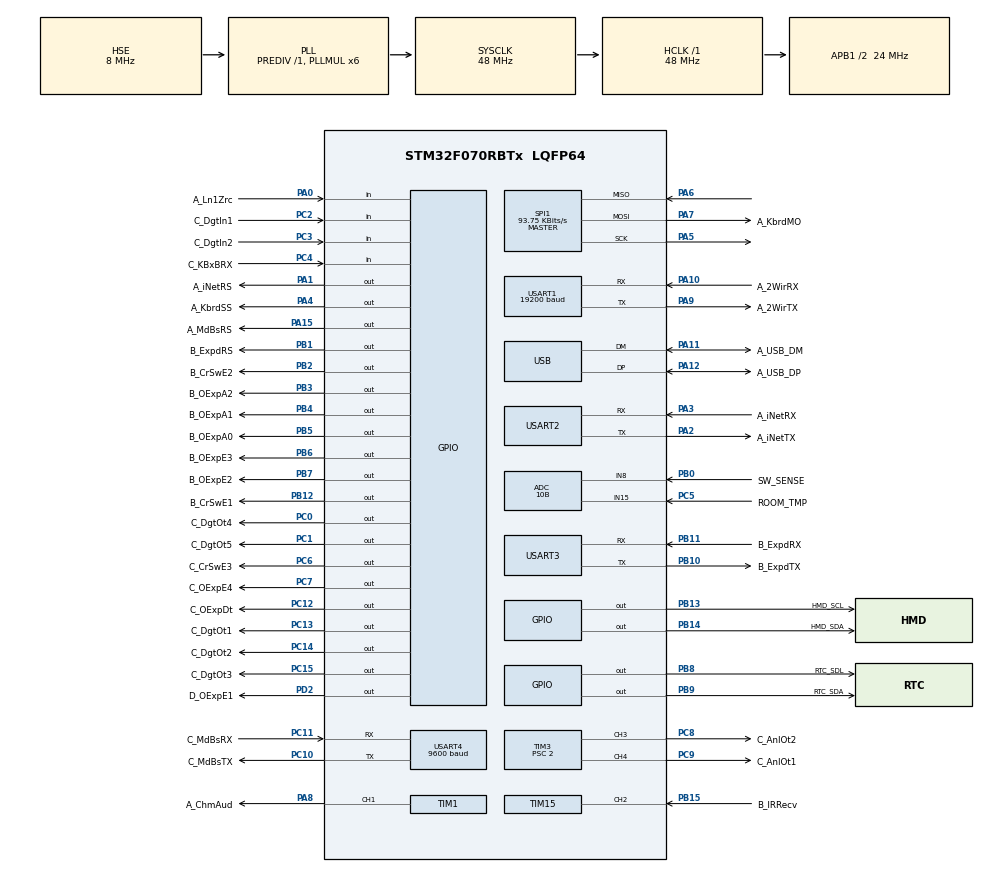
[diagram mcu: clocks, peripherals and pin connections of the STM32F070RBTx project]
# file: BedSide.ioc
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ADC.Resolution=ADC_RESOLUTION_10B
Mcu.Family=STM32F0
Mcu.Name=STM32F070RBTx
Mcu.Package=LQFP64
NVIC.SPI1_IRQn=true\:0\:0\:false\:false\:true\:true\:true
NVIC.TIM14_IRQn=true\:0\:0\:false\:false\:true\:true\:true
NVIC.TIM1_CC_IRQn=true\:0\:0\:false\:false\:true\:true\:true
NVIC.USART1_IRQn=true\:0\:0\:false\:false\:true\:true\:true
NVIC.USART3_4_IRQn=true\:0\:0\:false\:false\:true\:true\:true
PA0.GPIO_Label=A_Ln1Zrc
PA0.GPIO_PuPd=GPIO_PULLUP
PA0.Signal=GPIO_Input
PA1.GPIO_Label=A_iNetRS
PA1.Signal=GPIO_Output
PA10.GPIO_Label=A_2WirRX
PA10.GPIO_PuPd=GPIO_NOPULL
PA10.GPIO_Speed=GPIO_SPEED_FREQ_LOW
PA10.Mode=Asynchronous
PA10.Signal=USART1_RX
PA11.GPIO_Label=A_USB_DM
PA11.Mode=Device
PA11.Signal=USB_DM
PA12.GPIO_Label=A_USB_DP
PA12.Mode=Device
PA12.Signal=USB_DP
PA13.GPIO_Label=A_SWDIO
PA13.Mode=Serial_Wire
PA13.Signal=SYS_SWDIO
PA14.GPIO_Label=A_SWCLK
PA14.Mode=Serial_Wire
PA14.Signal=SYS_SWCLK
PA15.GPIO_Label=A_MdBsRS
PA15.GPIO_Speed=GPIO_SPEED_FREQ_LOW
PA15.Signal=GPIO_Output
PA2.GPIO_Label=A_iNetTX
PA2.GPIO_Speed=GPIO_SPEED_FREQ_LOW
PA2.Mode=Asynchronous
PA2.Signal=USART2_TX
PA3.GPIO_Label=A_iNetRX
PA3.GPIO_Speed=GPIO_SPEED_FREQ_LOW
PA3.Mode=Asynchronous
PA3.Signal=USART2_RX
PA4.GPIO_Label=A_KbrdSS
PA4.GPIO_Speed=GPIO_SPEED_FREQ_HIGH
PA4.Signal=GPIO_Output
PA5.GPIO_Speed=GPIO_SPEED_FREQ_LOW
PA5.Mode=Full_Duplex_Master
PA5.Signal=SPI1_SCK
PA6.GPIO_Speed=GPIO_SPEED_FREQ_LOW
PA6.Mode=Full_Duplex_Master
PA6.Signal=SPI1_MISO
PA7.GPIO_Label=A_KbrdMO
PA7.GPIO_Speed=GPIO_SPEED_FREQ_LOW
PA7.Mode=Full_Duplex_Master
PA7.Signal=SPI1_MOSI
PA8.GPIO_Label=A_ChmAud
PA8.Signal=S_TIM1_CH1
PA9.GPIO_Label=A_2WirTX
PA9.GPIO_ModeDefaultPP=GPIO_MODE_AF_OD
PA9.GPIO_Speed=GPIO_SPEED_FREQ_LOW
PA9.Mode=Asynchronous
PA9.Signal=USART1_TX
PB0.GPIO_Label=SW_SENSE
PB0.Mode=IN8
PB0.Signal=ADC_IN8
PB1.GPIO_Label=B_ExpdRS
PB1.Signal=GPIO_Output
PB10.GPIO_Label=B_ExpdTX
PB10.GPIO_Speed=GPIO_SPEED_FREQ_LOW
PB10.Mode=Asynchronous
PB10.Signal=USART3_TX
PB11.GPIO_Label=B_ExpdRX
PB11.GPIO_PuPd=GPIO_PULLUP
PB11.GPIO_Speed=GPIO_SPEED_FREQ_LOW
PB11.Mode=Asynchronous
PB11.Signal=USART3_RX
PB12.GPIO_Label=B_CrSwE1
PB12.GPIO_ModeDefaultOutputPP=GPIO_MODE_OUTPUT_OD
PB12.PinState=GPIO_PIN_SET
PB12.Signal=GPIO_Output
PB13.GPIO_Label=HMD_SCL
PB13.Signal=GPIO_Output
PB14.GPIO_Label=HMD_SDA
PB14.Signal=GPIO_Output
PB15.GPIO_Label=B_IRRecv
PB15.GPIO_PuPd=GPIO_PULLUP
PB15.Signal=S_TIM15_CH2
PB2.GPIO_Label=B_CrSwE2
PB2.GPIO_ModeDefaultOutputPP=GPIO_MODE_OUTPUT_OD
PB2.PinState=GPIO_PIN_SET
PB2.Signal=GPIO_Output
PB3.GPIO_Label=B_OExpA2
PB3.GPIO_ModeDefaultOutputPP=GPIO_MODE_OUTPUT_OD
PB3.PinState=GPIO_PIN_SET
PB3.Signal=GPIO_Output
PB4.GPIO_Label=B_OExpA1
PB4.GPIO_ModeDefaultOutputPP=GPIO_MODE_OUTPUT_OD
PB4.PinState=GPIO_PIN_SET
PB4.Signal=GPIO_Output
PB5.GPIO_Label=B_OExpA0
PB5.GPIO_ModeDefaultOutputPP=GPIO_MODE_OUTPUT_OD
PB5.PinState=GPIO_PIN_SET
PB5.Signal=GPIO_Output
PB6.GPIO_Label=B_OExpE3
PB6.GPIO_ModeDefaultOutputPP=GPIO_MODE_OUTPUT_OD
PB6.PinState=GPIO_PIN_SET
PB6.Signal=GPIO_Output
PB7.GPIO_Label=B_OExpE2
PB7.GPIO_ModeDefaultOutputPP=GPIO_MODE_OUTPUT_OD
PB7.PinState=GPIO_PIN_SET
PB7.Signal=GPIO_Output
PB8.GPIO_Label=RTC_SDL
PB8.Signal=GPIO_Output
PB9.GPIO_Label=RTC_SDA
PB9.Signal=GPIO_Output
PC0.GPIO_Label=C_DgtOt4
PC0.Signal=GPIO_Output
PC1.GPIO_Label=C_DgtOt5
PC1.Signal=GPIO_Output
PC10.GPIO_Label=C_MdBsTX
PC10.GPIO_Speed=GPIO_SPEED_FREQ_LOW
PC10.Mode=Asynchronous
PC10.Signal=USART4_TX
PC11.GPIO_Label=C_MdBsRX
PC11.GPIO_Speed=GPIO_SPEED_FREQ_LOW
PC11.Mode=Asynchronous
PC11.Signal=USART4_RX
PC12.GPIO_Label=C_OExpDt
PC12.GPIO_ModeDefaultOutputPP=GPIO_MODE_OUTPUT_OD
PC12.Signal=GPIO_Output
PC13.GPIO_Label=C_DgtOt1
PC13.Signal=GPIO_Output
PC14-OSC32_IN.GPIO_Label=C_DgtOt2
PC14-OSC32_IN.Signal=GPIO_Output
PC15-OSC32_OUT.GPIO_Label=C_DgtOt3
PC15-OSC32_OUT.Signal=GPIO_Output
PC2.GPIO_Label=C_DgtIn1
PC2.GPIO_PuPd=GPIO_PULLUP
PC2.Signal=GPIO_Input
PC3.GPIO_Label=C_DgtIn2
PC3.GPIO_PuPd=GPIO_PULLUP
PC3.Signal=GPIO_Input
PC4.GPIO_Label=C_KBxBRX
PC4.GPIO_PuPd=GPIO_PULLUP
PC4.Signal=GPIO_Input
PC5.GPIO_Label=ROOM_TMP
PC5.Mode=IN15
PC5.Signal=ADC_IN15
PC6.GPIO_Label=C_CrSwE3
PC6.GPIO_ModeDefaultOutputPP=GPIO_MODE_OUTPUT_OD
PC6.PinState=GPIO_PIN_SET
PC6.Signal=GPIO_Output
PC7.GPIO_Label=C_OExpE4
PC7.GPIO_ModeDefaultOutputPP=GPIO_MODE_OUTPUT_OD
PC7.PinState=GPIO_PIN_SET
PC7.Signal=GPIO_Output
PC8.GPIO_Label=C_AnlOt2
PC8.Signal=S_TIM3_CH3
PC9.GPIO_Label=C_AnlOt1
PC9.Signal=S_TIM3_CH4
PD2.GPIO_Label=D_OExpE1
PD2.GPIO_ModeDefaultOutputPP=GPIO_MODE_OUTPUT_OD
PD2.PinState=GPIO_PIN_SET
PD2.Signal=GPIO_Output
PF0-OSC_IN.GPIO_Label=F_OscInp
PF0-OSC_IN.Mode=HSE-External-Oscillator
PF0-OSC_IN.Signal=RCC_OSC_IN
PF1-OSC_OUT.GPIO_Label=F_OscOut
PF1-OSC_OUT.Mode=HSE-External-Oscillator
PF1-OSC_OUT.Signal=RCC_OSC_OUT
ProjectManager.HeapSize=0x200
ProjectManager.StackSize=0x400
ProjectManager.TargetToolchain=EWARM V7
RCC.AHBFreq_Value=48000000
RCC.APB1CLKDivider=RCC_HCLK_DIV2
RCC.APB1Freq_Value=24000000
RCC.APB1TimFreq_Value=48000000
RCC.EnbaleCSS=true
RCC.HCLKFreq_Value=48000000
RCC.I2c1ClockSelection=RCC_I2C1CLKSOURCE_SYSCLK
RCC.PLLMUL=RCC_PLL_MUL6
RCC.RTCClockSelection=RCC_RTCCLKSOURCE_HSE_DIV32
RCC.SYSCLKFreq_VALUE=48000000
RCC.SYSCLKSource=RCC_SYSCLKSOURCE_PLLCLK
SH.S_TIM15_CH2.0=TIM15_CH2,Input_Capture2_from_TI2
SH.S_TIM1_CH1.0=TIM1_CH1,Output Compare1 CH1
SH.S_TIM3_CH3.0=TIM3_CH3,PWM Generation3 CH3
SH.S_TIM3_CH4.0=TIM3_CH4,PWM Generation4 CH4
SPI1.BaudRatePrescaler=SPI_BAUDRATEPRESCALER_256
SPI1.CLKPhase=SPI_PHASE_2EDGE
SPI1.CLKPolarity=SPI_POLARITY_HIGH
SPI1.CalculateBaudRate=93.75 KBits/s
SPI1.DataSize=SPI_DATASIZE_8BIT
SPI1.Direction=SPI_DIRECTION_2LINES
SPI1.Mode=SPI_MODE_MASTER
SPI1.VirtualType=VM_MASTER
TIM1.Channel-Output\ Compare1\ CH1=TIM_CHANNEL_1
TIM14.AutoReloadPreload=TIM_AUTORELOAD_PRELOAD_ENABLE
TIM14.Period=749
TIM14.Prescaler=3
TIM15.Channel-Input_Capture2_from_TI2=TIM_CHANNEL_2
TIM3.Channel-PWM\ Generation3\ CH3=TIM_CHANNEL_3
TIM3.Channel-PWM\ Generation4\ CH4=TIM_CHANNEL_4
TIM3.ClockDivision=TIM_CLOCKDIVISION_DIV1
TIM3.OCFastMode_PWM-PWM\ Generation3\ CH3=TIM_OCFAST_ENABLE
TIM3.OCFastMode_PWM-PWM\ Generation4\ CH4=TIM_OCFAST_ENABLE
TIM3.Period=1000
TIM3.Prescaler=2
TIM3.Pulse-PWM\ Generation3\ CH3=500
TIM3.Pulse-PWM\ Generation4\ CH4=500
USART1.BaudRate=19200
USART1.DMADisableonRxErrorParam=ADVFEATURE_DMA_DISABLEONRXERROR
USART1.OverrunDisableParam=ADVFEATURE_OVERRUN_DISABLE
USART1.Parity=PARITY_EVEN
USART1.VirtualMode-Asynchronous=VM_ASYNC
USART1.WordLength=WORDLENGTH_9B
USART2.VirtualMode-Asynchronous=VM_ASYNC
USART3.VirtualMode-Asynchronous=VM_ASYNC
USART4.BaudRate=9600
USART4.Parity=PARITY_EVEN
USART4.VirtualMode-Asynchronous=VM_ASYNC
USART4.WordLength=WORDLENGTH_9B
VP_IWDG_VS_IWDG.Mode=IWDG_Activate
VP_TIM14_VS_ClockSourceINT.Mode=Enable_Timer
VP_TIM15_VS_ClockSourceINT.Mode=Internal
VP_TIM1_VS_ClockSourceINT.Mode=Internal
VP_TIM3_VS_ClockSourceINT.Mode=Internal
board=custom

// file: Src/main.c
/* USER CODE BEGIN Header */
/**
  ******************************************************************************
  * @file           : main.c
  * @brief          : Main program body
  ******************************************************************************
  * @attention
  *
  * <h2><center>&copy; Copyright (c) 2019 STMicroelectronics.
  * All rights reserved.</center></h2>
  *
  * This software component is licensed by ST under BSD 3-Clause license,
  * the "License"; You may not use this file except in compliance with the
  * License. You may obtain a copy of the License at:
  *                        opensource.org/licenses/BSD-3-Clause
  *
  ******************************************************************************
  */
/* USER CODE END Header */

#include "main.h"

/* USER CODE BEGIN Includes */
#include "timer.h"
#include "uartITN.h"
#include "SPIDisp.h"
#include "adcITN.h"
#include "driverhc259.h"
#include "relayct.h"
/* USER CODE END Includes */

/* USER CODE BEGIN PD */
//chanatip start
 //-------------------------------------------
unsigned char CpOfD_Mn;                      // compressor off delay (m)
unsigned char CpOfD_Sc;                      // compressor off delay (s)
unsigned short Val_ItCy;                     // valve interval cycle timer (s)

//-------------------------------------------
unsigned char NbdSt_Mn;                      // nobody stays timer (m)
unsigned short NbdSt_ms;                     // nobody stays timer (20ms)
unsigned char AcTSS_Mn;                      // air-con setting temperature saving step timer (m)
unsigned char AcTSS_ms;                      // air-con setting temperature saving step timer (20ms)
unsigned char AcTS_Ofs;                      // air-con setting temperature saving offset temperature (0.5C)
//-------------------------------------------
unsigned char AcNMt_Mn;                      // air-con no-motion timer (m)
unsigned short AcNMt_ms;                     // air-con no-motion timer (20ms)
unsigned char A2NMt_Mn;                      // air-con2 no-motion timer (m)
unsigned short A2NMt_ms;                     // air-con2 no-motion timer (20ms)
//-------------------------------------------
//==============================================================================
// data table for convert different temperature index (0.5C/step) to fan auto speed
//------------------------------------------------------------------------------
// fan auto speed
// - low,medium,high
//-------------------------------------------
// lower threshold of the hysteresis
const unsigned char FnAS_HyL[] = {
  2*(1)+0,                         // < 1C low speed
  2*(2)+0,                         // < 2C medium speed
  0xFF                             // < max high speed
};
//-------------------------------------------
// upper threshold of the hysteresis
const unsigned char FnAS_HyU[] = {
  2*(1)+1,                         // < 1.5C low speed
  2*(2)+1,                         // < 2.5C medium speed
  0xFF                             // < max high speed
};

//-------------------------------------------
unsigned char Sen1_Tmp;                      // sensor1 temperature index
unsigned char Room_Tmp;                      // room temperature index
unsigned char Room_Hum;                      // room humidity (0-100%RH)
//-------------------------------------------
unsigned char Ct_StTmp;                      // control setting temperature index
signed char VlC_DfTp;                        // valve control different temperature index
unsigned char FSC_DfTp;                      // fan speed control different temperature index
//-------------------------------------------
unsigned char FnAuSp_S;                      // fan auto speed state
//-------------------------------------------

MbtUint8 HwTs_Buf[HwTBf_Sz];                 // hardware testing buffer

RlyCctGp FnRlC_St;                           // final relay circuit status
RlyCctGp Genr_RlC;                           // general relay circuit
RlyCctGp Tmp_RlCc;                           // temporary relay circuit data

MbtUint8 GenFg_01;                  // general purpose flag1
MbtUint8 GenFg_02;                  // general purpose flag2
MbtUint8 GenFg_03;                  // general purpose flag3
MbtUint8 GenFg_04;                  // general purpose flag4
MbtUint8 GenFg_05;                  // general purpose flag6
MbtUint8 GenFg_06;                  // general purpose flag5
MbtUint8 GenFg_07;                  // general purpose flag7
MbtUint8 GenFg_08;                  // general purpose flag8
MbtUint8 GenFg_09;                  // general purpose flag9
MbtUint8 GenFg_10;                  // general purpose flag10
MbtUint8 GenFg_11;                  // general purpose flag11
MbtUint8 GenFg_12;                  // general purpose flag12
MbtUint8 GenFg_13;                  // general purpose flag13

Typedef_ParaTb01 ParaTb01;                                  // parameter table 1
Typedef_ParaTb2a ParaTb2a;
Typedef_ParaTb2b ParaTb2b;                                  // parameter table 2b
Typedef_ParaTb05 ParaTb05;                                  // parameter table 5

EpO259Gp EpO_PtSt;                           // expand output port status
EpO259Gp EpO_PtBf;                           // expand output port buffer
EpO259Gp EpO_Data;                           // expand output data
//-------------------------------------------
/*
union {
  unsigned char array[EE_BlockSze03-1];
  struct {
                                                                               // @@@ start of array
    //---------------------------------------
    unsigned char TmBom_En;                  // time bomb enable flag
    MbtUint16 TmBom_Hr;                      // time bomb hour down counter
    //---------------------------------------
                                                                               // @@@ end of array
  } P;
} ParaTb03;                                  // parameter table 3
*/
//-------------------------------------------

Typedef_ParaTb04  ParaTb04;                                  // parameter table 4
//-------------------------------------------
unsigned char CmMd_Lv1;
unsigned char CmMd_Lv2;

//chanatip end

/*Define for UART*/
#define TX1_SIZE (6)
#define TX2_SIZE (20)
#define TX3_SIZE (20)
#define TX4_SIZE (20)

#define RX1_SIZE (15)
#define RX2_SIZE (20)
#define RX3_SIZE (20)
#define RX4_SIZE (20)

#define UART1_RX_TIME_OUT  (4000/500)
#define UART2_RX_TIME_OUT  (4000/500)
#define UART3_RX_TIME_OUT  (4000/500)

#define D1D (1<<7)
#define D1E (1<<6)
#define D1C (1<<4)
#define D1F (1<<3)
#define D1G (1<<2)
#define D1B (1<<1)
#define D1A (1<<0)
#define D1DP (1<<5)

#define DG_0  ((uint8_t) (D1A | D1B | D1C | D1D | D1E | D1F       ))
#define DG_1  ((uint8_t) (      D1B | D1C                         ))
#define DG_2  ((uint8_t) (D1A | D1B |       D1D | D1E |       D1G ))
#define DG_3  ((uint8_t) (D1A | D1B | D1C | D1D |             D1G ))
#define DG_4  ((uint8_t) (      D1B | D1C |             D1F | D1G ))
#define DG_5  ((uint8_t) (D1A |       D1C | D1D |       D1F | D1G ))
#define DG_6  ((uint8_t) (D1A |       D1C | D1D | D1E | D1F | D1G ))
#define DG_7  ((uint8_t) (D1A | D1B | D1C                         ))
#define DG_8  ((uint8_t) (D1A | D1B | D1C | D1D | D1E | D1F | D1G ))
#define DG_9  ((uint8_t) (D1A | D1B | D1C | D1D |       D1F | D1G ))
#define DG_A  ((uint8_t) (D1A | D1B | D1C |       D1E | D1F | D1G ))
#define DG_B  ((uint8_t) (            D1C | D1D | D1E | D1F | D1G ))
#define DG_C  ((uint8_t) (D1A |             D1D | D1E | D1F       ))
#define DG_D  ((uint8_t) (      D1B | D1C | D1D | D1E |       D1G ))
#define DG_E  ((uint8_t) (D1A |             D1D | D1E | D1F | D1G ))
#define DG_F  ((uint8_t) (D1A |                   D1E | D1F | D1G ))

#define LCD1A (1<<6)
#define LCD1B (1<<4)
#define LCD1C (1<<1)
#define LCD1D (1<<0)
#define LCD1E (1<<2)
#define LCD1F (1<<5)
#define LCD1G (1<<3)

#define LCD_0  ((uint8_t) (LCD1A | LCD1B | LCD1C | LCD1D | LCD1E | LCD1F         ))
#define LCD_1  ((uint8_t) (        LCD1B | LCD1C                                 ))
#define LCD_2  ((uint8_t) (LCD1A | LCD1B |         LCD1D | LCD1E |         LCD1G ))
#define LCD_3  ((uint8_t) (LCD1A | LCD1B | LCD1C | LCD1D |                 LCD1G ))
#define LCD_4  ((uint8_t) (        LCD1B | LCD1C |                 LCD1F | LCD1G ))
#define LCD_5  ((uint8_t) (LCD1A |         LCD1C | LCD1D |         LCD1F | LCD1G ))
#define LCD_6  ((uint8_t) (LCD1A |         LCD1C | LCD1D | LCD1E | LCD1F | LCD1G ))
#define LCD_7  ((uint8_t) (LCD1A | LCD1B | LCD1C                                 ))
#define LCD_8  ((uint8_t) (LCD1A | LCD1B | LCD1C | LCD1D | LCD1E | LCD1F | LCD1G ))
#define LCD_9  ((uint8_t) (LCD1A | LCD1B | LCD1C | LCD1D |         LCD1F | LCD1G ))
#define LCD_A  ((uint8_t) (LCD1A | LCD1B | LCD1C |         LCD1E | LCD1F | LCD1G ))
#define LCD_B  ((uint8_t) (                LCD1C | LCD1D | LCD1E | LCD1F | LCD1G ))
#define LCD_C  ((uint8_t) (LCD1A |                 LCD1D | LCD1E | LCD1F         ))
#define LCD_D  ((uint8_t) (        LCD1B | LCD1C | LCD1D | LCD1E |         LCD1G ))
#define LCD_E  ((uint8_t) (LCD1A |                 LCD1D | LCD1E | LCD1F | LCD1G ))
#define LCD_F  ((uint8_t) (LCD1A |                         LCD1E | LCD1F | LCD1G ))

enum{
  PREPARE_DATA,
  WAIT_SEND_COMPLETE,
  CHANGE_TO_RX,
  RECEIVED_DATA,
  WAIT_IDLE
};

/* USER CODE END PD */

IWDG_HandleTypeDef hiwdg;

PCD_HandleTypeDef hpcd_USB_FS;

/* USER CODE BEGIN PV */
uint8_t m0s0625C;
uint16_t m0s50_Ct;
uint8_t slotcount;
uint8_t Sec_Cntr;

uint8_t testpos=0;
uint8_t testdat=1;

/*UART variable*/
USARTHandler UART1;
USARTHandler UART2;
USARTHandler UART3;
USARTHandler UART4;

uint8_t TX1Data[TX1_SIZE];
uint8_t RX1Data[RX1_SIZE];
uint8_t ConnectState = PREPARE_DATA;
uint8_t KeyData;

/*SPI variable*/
SPIDataHandler SPIDat;
uint8_t SPITXData[SPI_TX_SIZE];
uint8_t SPIRXData[SPI_RX_SIZE];
/*Adc vairable*/
uint16_t ADCValve[2];

/* USER CODE END PV */

void SystemClock_Config(void);
static void MX_GPIO_Init(void);
static void MX_ADC_Init(void);
static void MX_USB_PCD_Init(void);
static void MX_IWDG_Init(void);
static void MX_TIM1_Init(void);
static void MX_TIM3_Init(void);
static void MX_TIM15_Init(void);
static void MX_USART1_UART_Init(void);
static void MX_USART2_UART_Init(void);
static void MX_USART3_UART_Init(void);
static void MX_USART4_UART_Init(void);
static void MX_SPI1_Init(void);
static void MX_TIM14_Init(void);
/* USER CODE BEGIN PFP */

void WALLCommunication(USARTHandler *uart);
void SPICommunication(SPI_TypeDef *SPICH,SPIDataHandler *spi);

/* USER CODE END PFP */

/* USER CODE BEGIN 0 */
const uint8_t DSP1_TAB[] = {
  DG_0,
  DG_1,
  DG_2,
  DG_3,
  DG_4,
  DG_5,
  DG_6,
  DG_7,
  DG_8,
  DG_9,
  DG_A,
  DG_B,
  DG_C,
  DG_D,
  DG_E,
  DG_F
};

const uint8_t LCD1_TAB[] = {
  LCD_0,
  LCD_1,
  LCD_2,
  LCD_3,
  LCD_4,
  LCD_5,
  LCD_6,
  LCD_7,
  LCD_8,
  LCD_9,
  LCD_A,
  LCD_B,
  LCD_C,
  LCD_D,
  LCD_E,
  LCD_F
};

/* USER CODE END 0 */

int main(void)
{

  /* MCU Configuration--------------------------------------------------------*/

  /* Reset of all peripherals, Initializes the Flash interface and the Systick. */
  HAL_Init();

  /* Configure the system clock */
  SystemClock_Config();

  /* USER CODE BEGIN SysInit */
  __disable_interrupt();
  /* USER CODE END SysInit */

  /* Initialize all configured peripherals */
  MX_GPIO_Init();
  MX_ADC_Init();
  MX_USB_PCD_Init();
  MX_IWDG_Init();
  MX_TIM1_Init();
  MX_TIM3_Init();
  MX_TIM15_Init();
  MX_USART1_UART_Init();
  MX_USART2_UART_Init();
  MX_USART3_UART_Init();
  MX_USART4_UART_Init();
  MX_SPI1_Init();
  MX_TIM14_Init();
  /* USER CODE BEGIN 2 */

  /*Initialize timer*/
  InitTimerCallBack();
  /*Initialize UART handler*/
  InitUARTHandler();
  /*Calibrate ADC*/
  calibrateADC();
  enableADC();

  __enable_interrupt();
  /* USER CODE END 2 */

  /* Infinite loop */
  while (1)
  {

    /* USER CODE BEGIN 3 */
    if(m0s0625C >= 8) {                         // check 0.0625ms counter for 0.5ms loop
      m0s0625C -= 8;
      m0s50_Ct++;                               // increase 0.5ms counter
      HAL_IWDG_Refresh(&hiwdg);                 // refresh watchdog
      /* 0.5ms service routine -------------------------------------------------*/
      //Sv_MnSlt();                             // service main slot routine
      //C4_m62s5();                             // check for service 62.5ms routine

      /*Toggle port*/

      DecreaseUARTRXTimeout(&UART1);            /*Decrease RX1 time out*/
      WALLCommunication(&UART1);                /*Wall 1-4 communication*/

      convertADC(ADC_CHSELR_CHSEL15,1,ADCValve);
      relay_CT();                            // chanatip test relay control

      if((++slotcount) == 10 ){
        slotcount =0 ;
        SPICommunication(SPI1,&SPIDat);
      }
      /*------------------------------------------------------------------------*/
      if(m0s50_Ct >= 2000) {                    // check 0.5ms counter for 1000ms loop
        m0s50_Ct = 0;
        Sec_Cntr++;                             // increase 1s counter
        // 1s service routine --------------------------------------------------
        //G_AlOptn();                           // get all option
        //Sv_A1Sec();                           // service all 1 second timer
        setOutputIC259(testpos,testdat);
        //-----------------------------------
        if(Sec_Cntr >= 60) {                    // check 1s counter for 60s loop
          Sec_Cntr = 0;
          // 1m service routine ------------------------------------------------
          //Sv_A1Min();                         // service all 1 minute timer
          //--------------------------------------------------------------------
        }
        //----------------------------------------------------------------------
      }
      //------------------------------------------------------------------------
    }
    /* End of main loop ########################################################*/
  }
  /* USER CODE END 3 */
}

void SystemClock_Config(void)
{
  RCC_OscInitTypeDef RCC_OscInitStruct = {0};
  RCC_ClkInitTypeDef RCC_ClkInitStruct = {0};
  RCC_PeriphCLKInitTypeDef PeriphClkInit = {0};

  /** Initializes the CPU, AHB and APB busses clocks
  */
  RCC_OscInitStruct.OscillatorType = RCC_OSCILLATORTYPE_HSI14|RCC_OSCILLATORTYPE_LSI
                              |RCC_OSCILLATORTYPE_HSE;
  RCC_OscInitStruct.HSEState = RCC_HSE_ON;
  RCC_OscInitStruct.HSI14State = RCC_HSI14_ON;
  RCC_OscInitStruct.HSI14CalibrationValue = 16;
  RCC_OscInitStruct.LSIState = RCC_LSI_ON;
  RCC_OscInitStruct.PLL.PLLState = RCC_PLL_ON;
  RCC_OscInitStruct.PLL.PLLSource = RCC_PLLSOURCE_HSE;
  RCC_OscInitStruct.PLL.PLLMUL = RCC_PLL_MUL6;
  RCC_OscInitStruct.PLL.PREDIV = RCC_PREDIV_DIV1;
  if (HAL_RCC_OscConfig(&RCC_OscInitStruct) != HAL_OK)
  {
    Error_Handler();
  }
  /** Initializes the CPU, AHB and APB busses clocks
  */
  RCC_ClkInitStruct.ClockType = RCC_CLOCKTYPE_HCLK|RCC_CLOCKTYPE_SYSCLK
                              |RCC_CLOCKTYPE_PCLK1;
  RCC_ClkInitStruct.SYSCLKSource = RCC_SYSCLKSOURCE_PLLCLK;
  RCC_ClkInitStruct.AHBCLKDivider = RCC_SYSCLK_DIV1;
  RCC_ClkInitStruct.APB1CLKDivider = RCC_HCLK_DIV2;

  if (HAL_RCC_ClockConfig(&RCC_ClkInitStruct, FLASH_LATENCY_1) != HAL_OK)
  {
    Error_Handler();
  }
  PeriphClkInit.PeriphClockSelection = RCC_PERIPHCLK_USB|RCC_PERIPHCLK_USART1;
  PeriphClkInit.Usart1ClockSelection = RCC_USART1CLKSOURCE_PCLK1;
  PeriphClkInit.UsbClockSelection = RCC_USBCLKSOURCE_PLL;

  if (HAL_RCCEx_PeriphCLKConfig(&PeriphClkInit) != HAL_OK)
  {
    Error_Handler();
  }
  /** Enables the Clock Security System
  */
  HAL_RCC_EnableCSS();
}

static void MX_ADC_Init(void)
{

  LL_ADC_InitTypeDef ADC_InitStruct = {0};
  LL_ADC_REG_InitTypeDef ADC_REG_InitStruct = {0};

  LL_GPIO_InitTypeDef GPIO_InitStruct = {0};

  /* Peripheral clock enable */
  LL_APB1_GRP2_EnableClock(LL_APB1_GRP2_PERIPH_ADC1);

  LL_AHB1_GRP1_EnableClock(LL_AHB1_GRP1_PERIPH_GPIOC);
  LL_AHB1_GRP1_EnableClock(LL_AHB1_GRP1_PERIPH_GPIOB);
  /**ADC GPIO Configuration
  PC5   ------> ADC_IN15
  PB0   ------> ADC_IN8
  */
  GPIO_InitStruct.Pin = LL_GPIO_PIN_5;
  GPIO_InitStruct.Mode = LL_GPIO_MODE_ANALOG;
  GPIO_InitStruct.Pull = LL_GPIO_PULL_NO;
  LL_GPIO_Init(GPIOC, &GPIO_InitStruct);

  GPIO_InitStruct.Pin = LL_GPIO_PIN_0;
  GPIO_InitStruct.Mode = LL_GPIO_MODE_ANALOG;
  GPIO_InitStruct.Pull = LL_GPIO_PULL_NO;
  LL_GPIO_Init(GPIOB, &GPIO_InitStruct);

  /** Configure Regular Channel
  */
  LL_ADC_REG_SetSequencerChAdd(ADC1, LL_ADC_CHANNEL_8);
  /** Configure Regular Channel
  */
  LL_ADC_REG_SetSequencerChAdd(ADC1, LL_ADC_CHANNEL_15);
  /** Configure the global features of the ADC (Clock, Resolution, Data Alignment and number of conversion)
  */
  ADC_InitStruct.Clock = LL_ADC_CLOCK_ASYNC;
  ADC_InitStruct.Resolution = LL_ADC_RESOLUTION_10B;
  ADC_InitStruct.DataAlignment = LL_ADC_DATA_ALIGN_RIGHT;
  ADC_InitStruct.LowPowerMode = LL_ADC_LP_MODE_NONE;
  LL_ADC_Init(ADC1, &ADC_InitStruct);
  ADC_REG_InitStruct.TriggerSource = LL_ADC_REG_TRIG_SOFTWARE;
  ADC_REG_InitStruct.SequencerDiscont = LL_ADC_REG_SEQ_DISCONT_DISABLE;
  ADC_REG_InitStruct.ContinuousMode = LL_ADC_REG_CONV_SINGLE;
  ADC_REG_InitStruct.DMATransfer = LL_ADC_REG_DMA_TRANSFER_LIMITED;
  ADC_REG_InitStruct.Overrun = LL_ADC_REG_OVR_DATA_PRESERVED;
  LL_ADC_REG_Init(ADC1, &ADC_REG_InitStruct);
  LL_ADC_REG_SetSequencerScanDirection(ADC1, LL_ADC_REG_SEQ_SCAN_DIR_FORWARD);
  LL_ADC_SetSamplingTimeCommonChannels(ADC1, LL_ADC_SAMPLINGTIME_1CYCLE_5);
  LL_ADC_DisableIT_EOC(ADC1);
  LL_ADC_DisableIT_EOS(ADC1);

}

static void MX_IWDG_Init(void)
{

  hiwdg.Instance = IWDG;
  hiwdg.Init.Prescaler = IWDG_PRESCALER_4;
  hiwdg.Init.Window = 4095;
  hiwdg.Init.Reload = 4095;
  if (HAL_IWDG_Init(&hiwdg) != HAL_OK)
  {
    Error_Handler();
  }

}

static void MX_SPI1_Init(void)
{

  LL_SPI_InitTypeDef SPI_InitStruct = {0};

  LL_GPIO_InitTypeDef GPIO_InitStruct = {0};

  /* Peripheral clock enable */
  LL_APB1_GRP2_EnableClock(LL_APB1_GRP2_PERIPH_SPI1);

  LL_AHB1_GRP1_EnableClock(LL_AHB1_GRP1_PERIPH_GPIOA);
  /**SPI1 GPIO Configuration
  PA5   ------> SPI1_SCK
  PA6   ------> SPI1_MISO
  PA7   ------> SPI1_MOSI
  */
  GPIO_InitStruct.Pin = LL_GPIO_PIN_5;
  GPIO_InitStruct.Mode = LL_GPIO_MODE_ALTERNATE;
  GPIO_InitStruct.Speed = LL_GPIO_SPEED_FREQ_LOW;
  GPIO_InitStruct.OutputType = LL_GPIO_OUTPUT_PUSHPULL;
  GPIO_InitStruct.Pull = LL_GPIO_PULL_NO;
  GPIO_InitStruct.Alternate = LL_GPIO_AF_0;
  LL_GPIO_Init(GPIOA, &GPIO_InitStruct);

  GPIO_InitStruct.Pin = LL_GPIO_PIN_6;
  GPIO_InitStruct.Mode = LL_GPIO_MODE_ALTERNATE;
  GPIO_InitStruct.Speed = LL_GPIO_SPEED_FREQ_LOW;
  GPIO_InitStruct.OutputType = LL_GPIO_OUTPUT_PUSHPULL;
  GPIO_InitStruct.Pull = LL_GPIO_PULL_NO;
  GPIO_InitStruct.Alternate = LL_GPIO_AF_0;
  LL_GPIO_Init(GPIOA, &GPIO_InitStruct);

  GPIO_InitStruct.Pin = LL_GPIO_PIN_7;
  GPIO_InitStruct.Mode = LL_GPIO_MODE_ALTERNATE;
  GPIO_InitStruct.Speed = LL_GPIO_SPEED_FREQ_LOW;
  GPIO_InitStruct.OutputType = LL_GPIO_OUTPUT_PUSHPULL;
  GPIO_InitStruct.Pull = LL_GPIO_PULL_NO;
  GPIO_InitStruct.Alternate = LL_GPIO_AF_0;
  LL_GPIO_Init(GPIOA, &GPIO_InitStruct);

  /* SPI1 interrupt Init */
  NVIC_SetPriority(SPI1_IRQn, 0);
  NVIC_EnableIRQ(SPI1_IRQn);

  /* SPI1 parameter configuration*/
  SPI_InitStruct.TransferDirection = LL_SPI_FULL_DUPLEX;
  SPI_InitStruct.Mode = LL_SPI_MODE_MASTER;
  SPI_InitStruct.DataWidth = LL_SPI_DATAWIDTH_8BIT;
  SPI_InitStruct.ClockPolarity = LL_SPI_POLARITY_HIGH;
  SPI_InitStruct.ClockPhase = LL_SPI_PHASE_2EDGE;
  SPI_InitStruct.NSS = LL_SPI_NSS_SOFT;
  SPI_InitStruct.BaudRate = LL_SPI_BAUDRATEPRESCALER_DIV256;
  SPI_InitStruct.BitOrder = LL_SPI_MSB_FIRST;
  SPI_InitStruct.CRCCalculation = LL_SPI_CRCCALCULATION_DISABLE;
  SPI_InitStruct.CRCPoly = 7;
  LL_SPI_Init(SPI1, &SPI_InitStruct);
  LL_SPI_SetStandard(SPI1, LL_SPI_PROTOCOL_MOTOROLA);
  LL_SPI_DisableNSSPulseMgt(SPI1);

}

static void MX_TIM1_Init(void)
{

  LL_TIM_InitTypeDef TIM_InitStruct = {0};
  LL_TIM_OC_InitTypeDef TIM_OC_InitStruct = {0};
  LL_TIM_BDTR_InitTypeDef TIM_BDTRInitStruct = {0};

  LL_GPIO_InitTypeDef GPIO_InitStruct = {0};

  /* Peripheral clock enable */
  LL_APB1_GRP2_EnableClock(LL_APB1_GRP2_PERIPH_TIM1);

  /* TIM1 interrupt Init */
  NVIC_SetPriority(TIM1_CC_IRQn, 0);
  NVIC_EnableIRQ(TIM1_CC_IRQn);

  TIM_InitStruct.Prescaler = 0;
  TIM_InitStruct.CounterMode = LL_TIM_COUNTERMODE_UP;
  TIM_InitStruct.Autoreload = 0;
  TIM_InitStruct.ClockDivision = LL_TIM_CLOCKDIVISION_DIV1;
  TIM_InitStruct.RepetitionCounter = 0;
  LL_TIM_Init(TIM1, &TIM_InitStruct);
  LL_TIM_DisableARRPreload(TIM1);
  LL_TIM_SetClockSource(TIM1, LL_TIM_CLOCKSOURCE_INTERNAL);
  TIM_OC_InitStruct.OCMode = LL_TIM_OCMODE_FROZEN;
  TIM_OC_InitStruct.OCState = LL_TIM_OCSTATE_DISABLE;
  TIM_OC_InitStruct.OCNState = LL_TIM_OCSTATE_DISABLE;
  TIM_OC_InitStruct.CompareValue = 0;
  TIM_OC_InitStruct.OCPolarity = LL_TIM_OCPOLARITY_HIGH;
  TIM_OC_InitStruct.OCNPolarity = LL_TIM_OCPOLARITY_HIGH;
  TIM_OC_InitStruct.OCIdleState = LL_TIM_OCIDLESTATE_LOW;
  TIM_OC_InitStruct.OCNIdleState = LL_TIM_OCIDLESTATE_LOW;
  LL_TIM_OC_Init(TIM1, LL_TIM_CHANNEL_CH1, &TIM_OC_InitStruct);
  LL_TIM_OC_DisableFast(TIM1, LL_TIM_CHANNEL_CH1);
  LL_TIM_SetTriggerOutput(TIM1, LL_TIM_TRGO_RESET);
  LL_TIM_DisableMasterSlaveMode(TIM1);
  TIM_BDTRInitStruct.OSSRState = LL_TIM_OSSR_DISABLE;
  TIM_BDTRInitStruct.OSSIState = LL_TIM_OSSI_DISABLE;
  TIM_BDTRInitStruct.LockLevel = LL_TIM_LOCKLEVEL_OFF;
  TIM_BDTRInitStruct.DeadTime = 0;
  TIM_BDTRInitStruct.BreakState = LL_TIM_BREAK_DISABLE;
  TIM_BDTRInitStruct.BreakPolarity = LL_TIM_BREAK_POLARITY_HIGH;
  TIM_BDTRInitStruct.AutomaticOutput = LL_TIM_AUTOMATICOUTPUT_DISABLE;
  LL_TIM_BDTR_Init(TIM1, &TIM_BDTRInitStruct);
  LL_AHB1_GRP1_EnableClock(LL_AHB1_GRP1_PERIPH_GPIOA);
  /**TIM1 GPIO Configuration
  PA8   ------> TIM1_CH1
  */
  GPIO_InitStruct.Pin = LL_GPIO_PIN_8;
  GPIO_InitStruct.Mode = LL_GPIO_MODE_ALTERNATE;
  GPIO_InitStruct.Speed = LL_GPIO_SPEED_FREQ_LOW;
  GPIO_InitStruct.OutputType = LL_GPIO_OUTPUT_PUSHPULL;
  GPIO_InitStruct.Pull = LL_GPIO_PULL_NO;
  GPIO_InitStruct.Alternate = LL_GPIO_AF_2;
  LL_GPIO_Init(GPIOA, &GPIO_InitStruct);

}

static void MX_TIM3_Init(void)
{

  LL_TIM_InitTypeDef TIM_InitStruct = {0};
  LL_TIM_OC_InitTypeDef TIM_OC_InitStruct = {0};

  LL_GPIO_InitTypeDef GPIO_InitStruct = {0};

  /* Peripheral clock enable */
  LL_APB1_GRP1_EnableClock(LL_APB1_GRP1_PERIPH_TIM3);

  TIM_InitStruct.Prescaler = 2;
  TIM_InitStruct.CounterMode = LL_TIM_COUNTERMODE_UP;
  TIM_InitStruct.Autoreload = 1000;
  TIM_InitStruct.ClockDivision = LL_TIM_CLOCKDIVISION_DIV1;
  LL_TIM_Init(TIM3, &TIM_InitStruct);
  LL_TIM_DisableARRPreload(TIM3);
  LL_TIM_SetClockSource(TIM3, LL_TIM_CLOCKSOURCE_INTERNAL);
  LL_TIM_OC_EnablePreload(TIM3, LL_TIM_CHANNEL_CH3);
  TIM_OC_InitStruct.OCMode = LL_TIM_OCMODE_PWM1;
  TIM_OC_InitStruct.OCState = LL_TIM_OCSTATE_DISABLE;
  TIM_OC_InitStruct.OCNState = LL_TIM_OCSTATE_DISABLE;
  TIM_OC_InitStruct.CompareValue = 500;
  TIM_OC_InitStruct.OCPolarity = LL_TIM_OCPOLARITY_HIGH;
  LL_TIM_OC_Init(TIM3, LL_TIM_CHANNEL_CH3, &TIM_OC_InitStruct);
  LL_TIM_OC_EnableFast(TIM3, LL_TIM_CHANNEL_CH3);
  LL_TIM_OC_EnablePreload(TIM3, LL_TIM_CHANNEL_CH4);
  TIM_OC_InitStruct.OCState = LL_TIM_OCSTATE_DISABLE;
  TIM_OC_InitStruct.OCNState = LL_TIM_OCSTATE_DISABLE;
  LL_TIM_OC_Init(TIM3, LL_TIM_CHANNEL_CH4, &TIM_OC_InitStruct);
  LL_TIM_OC_EnableFast(TIM3, LL_TIM_CHANNEL_CH4);
  LL_TIM_SetTriggerOutput(TIM3, LL_TIM_TRGO_RESET);
  LL_TIM_DisableMasterSlaveMode(TIM3);
  LL_AHB1_GRP1_EnableClock(LL_AHB1_GRP1_PERIPH_GPIOC);
  /**TIM3 GPIO Configuration
  PC8   ------> TIM3_CH3
  PC9   ------> TIM3_CH4
  */
  GPIO_InitStruct.Pin = LL_GPIO_PIN_8;
  GPIO_InitStruct.Mode = LL_GPIO_MODE_ALTERNATE;
  GPIO_InitStruct.Speed = LL_GPIO_SPEED_FREQ_LOW;
  GPIO_InitStruct.OutputType = LL_GPIO_OUTPUT_PUSHPULL;
  GPIO_InitStruct.Pull = LL_GPIO_PULL_NO;
  GPIO_InitStruct.Alternate = LL_GPIO_AF_0;
  LL_GPIO_Init(GPIOC, &GPIO_InitStruct);

  GPIO_InitStruct.Pin = LL_GPIO_PIN_9;
  GPIO_InitStruct.Mode = LL_GPIO_MODE_ALTERNATE;
  GPIO_InitStruct.Speed = LL_GPIO_SPEED_FREQ_LOW;
  GPIO_InitStruct.OutputType = LL_GPIO_OUTPUT_PUSHPULL;
  GPIO_InitStruct.Pull = LL_GPIO_PULL_NO;
  GPIO_InitStruct.Alternate = LL_GPIO_AF_0;
  LL_GPIO_Init(GPIOC, &GPIO_InitStruct);

}

static void MX_TIM14_Init(void)
{

  LL_TIM_InitTypeDef TIM_InitStruct = {0};

  /* Peripheral clock enable */
  LL_APB1_GRP1_EnableClock(LL_APB1_GRP1_PERIPH_TIM14);

  /* TIM14 interrupt Init */
  NVIC_SetPriority(TIM14_IRQn, 0);
  NVIC_EnableIRQ(TIM14_IRQn);

  TIM_InitStruct.Prescaler = 3;
  TIM_InitStruct.CounterMode = LL_TIM_COUNTERMODE_UP;
  TIM_InitStruct.Autoreload = 749;
  TIM_InitStruct.ClockDivision = LL_TIM_CLOCKDIVISION_DIV1;
  LL_TIM_Init(TIM14, &TIM_InitStruct);
  LL_TIM_EnableARRPreload(TIM14);

}

static void MX_TIM15_Init(void)
{

  LL_TIM_InitTypeDef TIM_InitStruct = {0};

  LL_GPIO_InitTypeDef GPIO_InitStruct = {0};

  /* Peripheral clock enable */
  LL_APB1_GRP2_EnableClock(LL_APB1_GRP2_PERIPH_TIM15);

  LL_AHB1_GRP1_EnableClock(LL_AHB1_GRP1_PERIPH_GPIOB);
  /**TIM15 GPIO Configuration
  PB15   ------> TIM15_CH2
  */
  GPIO_InitStruct.Pin = LL_GPIO_PIN_15;
  GPIO_InitStruct.Mode = LL_GPIO_MODE_ALTERNATE;
  GPIO_InitStruct.Speed = LL_GPIO_SPEED_FREQ_LOW;
  GPIO_InitStruct.OutputType = LL_GPIO_OUTPUT_PUSHPULL;
  GPIO_InitStruct.Pull = LL_GPIO_PULL_UP;
  GPIO_InitStruct.Alternate = LL_GPIO_AF_1;
  LL_GPIO_Init(GPIOB, &GPIO_InitStruct);

  TIM_InitStruct.Prescaler = 0;
  TIM_InitStruct.CounterMode = LL_TIM_COUNTERMODE_UP;
  TIM_InitStruct.Autoreload = 0;
  TIM_InitStruct.ClockDivision = LL_TIM_CLOCKDIVISION_DIV1;
  TIM_InitStruct.RepetitionCounter = 0;
  LL_TIM_Init(TIM15, &TIM_InitStruct);
  LL_TIM_DisableARRPreload(TIM15);
  LL_TIM_SetClockSource(TIM15, LL_TIM_CLOCKSOURCE_INTERNAL);
  LL_TIM_SetTriggerOutput(TIM15, LL_TIM_TRGO_RESET);
  LL_TIM_DisableMasterSlaveMode(TIM15);
  LL_TIM_IC_SetActiveInput(TIM15, LL_TIM_CHANNEL_CH2, LL_TIM_ACTIVEINPUT_DIRECTTI);
  LL_TIM_IC_SetPrescaler(TIM15, LL_TIM_CHANNEL_CH2, LL_TIM_ICPSC_DIV1);
  LL_TIM_IC_SetFilter(TIM15, LL_TIM_CHANNEL_CH2, LL_TIM_IC_FILTER_FDIV1);
  LL_TIM_IC_SetPolarity(TIM15, LL_TIM_CHANNEL_CH2, LL_TIM_IC_POLARITY_RISING);

}

static void MX_USART1_UART_Init(void)
{

  LL_USART_InitTypeDef USART_InitStruct = {0};

  LL_GPIO_InitTypeDef GPIO_InitStruct = {0};

  /* Peripheral clock enable */
  LL_APB1_GRP2_EnableClock(LL_APB1_GRP2_PERIPH_USART1);

  LL_AHB1_GRP1_EnableClock(LL_AHB1_GRP1_PERIPH_GPIOA);
  /**USART1 GPIO Configuration
  PA9   ------> USART1_TX
  PA10   ------> USART1_RX
  */
  GPIO_InitStruct.Pin = LL_GPIO_PIN_9;
  GPIO_InitStruct.Mode = LL_GPIO_MODE_ALTERNATE;
  GPIO_InitStruct.Speed = LL_GPIO_SPEED_FREQ_LOW;
  GPIO_InitStruct.OutputType = LL_GPIO_OUTPUT_OPENDRAIN;
  GPIO_InitStruct.Pull = LL_GPIO_PULL_NO;
  GPIO_InitStruct.Alternate = LL_GPIO_AF_1;
  LL_GPIO_Init(GPIOA, &GPIO_InitStruct);

  GPIO_InitStruct.Pin = LL_GPIO_PIN_10;
  GPIO_InitStruct.Mode = LL_GPIO_MODE_ALTERNATE;
  GPIO_InitStruct.Speed = LL_GPIO_SPEED_FREQ_LOW;
  GPIO_InitStruct.OutputType = LL_GPIO_OUTPUT_PUSHPULL;
  GPIO_InitStruct.Pull = LL_GPIO_PULL_NO;
  GPIO_InitStruct.Alternate = LL_GPIO_AF_1;
  LL_GPIO_Init(GPIOA, &GPIO_InitStruct);

  /* USART1 interrupt Init */
  NVIC_SetPriority(USART1_IRQn, 0);
  NVIC_EnableIRQ(USART1_IRQn);

  USART_InitStruct.BaudRate = 19200;
  USART_InitStruct.DataWidth = LL_USART_DATAWIDTH_9B;
  USART_InitStruct.StopBits = LL_USART_STOPBITS_1;
  USART_InitStruct.Parity = LL_USART_PARITY_EVEN;
  USART_InitStruct.TransferDirection = LL_USART_DIRECTION_TX_RX;
  USART_InitStruct.HardwareFlowControl = LL_USART_HWCONTROL_NONE;
  USART_InitStruct.OverSampling = LL_USART_OVERSAMPLING_16;
  LL_USART_Init(USART1, &USART_InitStruct);
  LL_USART_DisableIT_CTS(USART1);
  LL_USART_DisableOverrunDetect(USART1);
  LL_USART_DisableDMADeactOnRxErr(USART1);
  LL_USART_ConfigAsyncMode(USART1);
  LL_USART_Enable(USART1);

}

static void MX_USART2_UART_Init(void)
{

  LL_USART_InitTypeDef USART_InitStruct = {0};

  LL_GPIO_InitTypeDef GPIO_InitStruct = {0};

  /* Peripheral clock enable */
  LL_APB1_GRP1_EnableClock(LL_APB1_GRP1_PERIPH_USART2);

  LL_AHB1_GRP1_EnableClock(LL_AHB1_GRP1_PERIPH_GPIOA);
  /**USART2 GPIO Configuration
  PA2   ------> USART2_TX
  PA3   ------> USART2_RX
  */
  GPIO_InitStruct.Pin = LL_GPIO_PIN_2;
  GPIO_InitStruct.Mode = LL_GPIO_MODE_ALTERNATE;
  GPIO_InitStruct.Speed = LL_GPIO_SPEED_FREQ_LOW;
  GPIO_InitStruct.OutputType = LL_GPIO_OUTPUT_PUSHPULL;
  GPIO_InitStruct.Pull = LL_GPIO_PULL_NO;
  GPIO_InitStruct.Alternate = LL_GPIO_AF_1;
  LL_GPIO_Init(GPIOA, &GPIO_InitStruct);

  GPIO_InitStruct.Pin = LL_GPIO_PIN_3;
  GPIO_InitStruct.Mode = LL_GPIO_MODE_ALTERNATE;
  GPIO_InitStruct.Speed = LL_GPIO_SPEED_FREQ_LOW;
  GPIO_InitStruct.OutputType = LL_GPIO_OUTPUT_PUSHPULL;
  GPIO_InitStruct.Pull = LL_GPIO_PULL_NO;
  GPIO_InitStruct.Alternate = LL_GPIO_AF_1;
  LL_GPIO_Init(GPIOA, &GPIO_InitStruct);

  USART_InitStruct.BaudRate = 38400;
  USART_InitStruct.DataWidth = LL_USART_DATAWIDTH_8B;
  USART_InitStruct.StopBits = LL_USART_STOPBITS_1;
  USART_InitStruct.Parity = LL_USART_PARITY_NONE;
  USART_InitStruct.TransferDirection = LL_USART_DIRECTION_TX_RX;
  USART_InitStruct.HardwareFlowControl = LL_USART_HWCONTROL_NONE;
  USART_InitStruct.OverSampling = LL_USART_OVERSAMPLING_16;
  LL_USART_Init(USART2, &USART_InitStruct);
  LL_USART_DisableIT_CTS(USART2);
  LL_USART_ConfigAsyncMode(USART2);
  LL_USART_Enable(USART2);

}

static void MX_USART3_UART_Init(void)
{

  LL_USART_InitTypeDef USART_InitStruct = {0};

  LL_GPIO_InitTypeDef GPIO_InitStruct = {0};

  /* Peripheral clock enable */
  LL_APB1_GRP1_EnableClock(LL_APB1_GRP1_PERIPH_USART3);

  LL_AHB1_GRP1_EnableClock(LL_AHB1_GRP1_PERIPH_GPIOB);
  /**USART3 GPIO Configuration
  PB10   ------> USART3_TX
  PB11   ------> USART3_RX
  */
  GPIO_InitStruct.Pin = LL_GPIO_PIN_10;
  GPIO_InitStruct.Mode = LL_GPIO_MODE_ALTERNATE;
  GPIO_InitStruct.Speed = LL_GPIO_SPEED_FREQ_LOW;
  GPIO_InitStruct.OutputType = LL_GPIO_OUTPUT_PUSHPULL;
  GPIO_InitStruct.Pull = LL_GPIO_PULL_NO;
  GPIO_InitStruct.Alternate = LL_GPIO_AF_4;
  LL_GPIO_Init(GPIOB, &GPIO_InitStruct);

  GPIO_InitStruct.Pin = LL_GPIO_PIN_11;
  GPIO_InitStruct.Mode = LL_GPIO_MODE_ALTERNATE;
  GPIO_InitStruct.Speed = LL_GPIO_SPEED_FREQ_LOW;
  GPIO_InitStruct.OutputType = LL_GPIO_OUTPUT_PUSHPULL;
  GPIO_InitStruct.Pull = LL_GPIO_PULL_UP;
  GPIO_InitStruct.Alternate = LL_GPIO_AF_4;
  LL_GPIO_Init(GPIOB, &GPIO_InitStruct);

  /* USART3 interrupt Init */
  NVIC_SetPriority(USART3_4_IRQn, 0);
  NVIC_EnableIRQ(USART3_4_IRQn);

  USART_InitStruct.BaudRate = 38400;
  USART_InitStruct.DataWidth = LL_USART_DATAWIDTH_8B;
  USART_InitStruct.StopBits = LL_USART_STOPBITS_1;
  USART_InitStruct.Parity = LL_USART_PARITY_NONE;
  USART_InitStruct.TransferDirection = LL_USART_DIRECTION_TX_RX;
  USART_InitStruct.HardwareFlowControl = LL_USART_HWCONTROL_NONE;
  USART_InitStruct.OverSampling = LL_USART_OVERSAMPLING_16;
  LL_USART_Init(USART3, &USART_InitStruct);
  LL_USART_DisableIT_CTS(USART3);
  LL_USART_ConfigAsyncMode(USART3);
  LL_USART_Enable(USART3);

}

static void MX_USART4_UART_Init(void)
{

  LL_USART_InitTypeDef USART_InitStruct = {0};

  LL_GPIO_InitTypeDef GPIO_InitStruct = {0};

  /* Peripheral clock enable */
  LL_APB1_GRP1_EnableClock(LL_APB1_GRP1_PERIPH_USART4);

  LL_AHB1_GRP1_EnableClock(LL_AHB1_GRP1_PERIPH_GPIOC);
  /**USART4 GPIO Configuration
  PC10   ------> USART4_TX
  PC11   ------> USART4_RX
  */
  GPIO_InitStruct.Pin = LL_GPIO_PIN_10;
  GPIO_InitStruct.Mode = LL_GPIO_MODE_ALTERNATE;
  GPIO_InitStruct.Speed = LL_GPIO_SPEED_FREQ_LOW;
  GPIO_InitStruct.OutputType = LL_GPIO_OUTPUT_PUSHPULL;
  GPIO_InitStruct.Pull = LL_GPIO_PULL_NO;
  GPIO_InitStruct.Alternate = LL_GPIO_AF_0;
  LL_GPIO_Init(GPIOC, &GPIO_InitStruct);

  GPIO_InitStruct.Pin = LL_GPIO_PIN_11;
  GPIO_InitStruct.Mode = LL_GPIO_MODE_ALTERNATE;
  GPIO_InitStruct.Speed = LL_GPIO_SPEED_FREQ_LOW;
  GPIO_InitStruct.OutputType = LL_GPIO_OUTPUT_PUSHPULL;
  GPIO_InitStruct.Pull = LL_GPIO_PULL_NO;
  GPIO_InitStruct.Alternate = LL_GPIO_AF_0;
  LL_GPIO_Init(GPIOC, &GPIO_InitStruct);

  /* USART4 interrupt Init */
  NVIC_SetPriority(USART3_4_IRQn, 0);
  NVIC_EnableIRQ(USART3_4_IRQn);

  USART_InitStruct.BaudRate = 9600;
  USART_InitStruct.DataWidth = LL_USART_DATAWIDTH_9B;
  USART_InitStruct.StopBits = LL_USART_STOPBITS_1;
  USART_InitStruct.Parity = LL_USART_PARITY_EVEN;
  USART_InitStruct.TransferDirection = LL_USART_DIRECTION_TX_RX;
  USART_InitStruct.HardwareFlowControl = LL_USART_HWCONTROL_NONE;
  USART_InitStruct.OverSampling = LL_USART_OVERSAMPLING_16;
  LL_USART_Init(USART4, &USART_InitStruct);
  LL_USART_DisableIT_CTS(USART4);
  LL_USART_ConfigAsyncMode(USART4);
  LL_USART_Enable(USART4);

}

static void MX_USB_PCD_Init(void)
{

  hpcd_USB_FS.Instance = USB;
  hpcd_USB_FS.Init.dev_endpoints = 8;
  hpcd_USB_FS.Init.speed = PCD_SPEED_FULL;
  hpcd_USB_FS.Init.phy_itface = PCD_PHY_EMBEDDED;
  hpcd_USB_FS.Init.low_power_enable = DISABLE;
  hpcd_USB_FS.Init.lpm_enable = DISABLE;
  hpcd_USB_FS.Init.battery_charging_enable = DISABLE;
  if (HAL_PCD_Init(&hpcd_USB_FS) != HAL_OK)
  {
    Error_Handler();
  }

}

static void MX_GPIO_Init(void)
{
  GPIO_InitTypeDef GPIO_InitStruct = {0};

  /* GPIO Ports Clock Enable */
  __HAL_RCC_GPIOC_CLK_ENABLE();
  __HAL_RCC_GPIOF_CLK_ENABLE();
  __HAL_RCC_GPIOA_CLK_ENABLE();
  __HAL_RCC_GPIOB_CLK_ENABLE();
  __HAL_RCC_GPIOD_CLK_ENABLE();

  /*Configure GPIO pin Output Level */
  HAL_GPIO_WritePin(GPIOC, C_DgtOt1_Pin|C_DgtOt2_Pin|C_DgtOt3_Pin|C_DgtOt4_Pin
                          |C_DgtOt5_Pin|C_OExpDt_Pin, GPIO_PIN_RESET);

  /*Configure GPIO pin Output Level */
  HAL_GPIO_WritePin(GPIOA, A_iNetRS_Pin|A_KbrdSS_Pin|A_MdBsRS_Pin, GPIO_PIN_RESET);

  /*Configure GPIO pin Output Level */
  HAL_GPIO_WritePin(GPIOB, B_ExpdRS_Pin|HMD_SCL_Pin|HMD_SDA_Pin|RTC_SDL_Pin
                          |RTC_SDA_Pin, GPIO_PIN_RESET);

  /*Configure GPIO pin Output Level */
  HAL_GPIO_WritePin(GPIOB, B_CrSwE2_Pin|B_CrSwE1_Pin|B_OExpA2_Pin|B_OExpA1_Pin
                          |B_OExpA0_Pin|B_OExpE3_Pin|B_OExpE2_Pin, GPIO_PIN_SET);

  /*Configure GPIO pin Output Level */
  HAL_GPIO_WritePin(GPIOC, C_CrSwE3_Pin|C_OExpE4_Pin, GPIO_PIN_SET);

  /*Configure GPIO pin Output Level */
  HAL_GPIO_WritePin(D_OExpE1_GPIO_Port, D_OExpE1_Pin, GPIO_PIN_SET);

  /*Configure GPIO pins : C_DgtOt1_Pin C_DgtOt2_Pin C_DgtOt3_Pin C_DgtOt4_Pin
                           C_DgtOt5_Pin */
  GPIO_InitStruct.Pin = C_DgtOt1_Pin|C_DgtOt2_Pin|C_DgtOt3_Pin|C_DgtOt4_Pin
                          |C_DgtOt5_Pin;
  GPIO_InitStruct.Mode = GPIO_MODE_OUTPUT_PP;
  GPIO_InitStruct.Pull = GPIO_NOPULL;
  GPIO_InitStruct.Speed = GPIO_SPEED_FREQ_LOW;
  HAL_GPIO_Init(GPIOC, &GPIO_InitStruct);

  /*Configure GPIO pins : C_DgtIn1_Pin C_DgtIn2_Pin C_KBxBRX_Pin */
  GPIO_InitStruct.Pin = C_DgtIn1_Pin|C_DgtIn2_Pin|C_KBxBRX_Pin;
  GPIO_InitStruct.Mode = GPIO_MODE_INPUT;
  GPIO_InitStruct.Pull = GPIO_PULLUP;
  HAL_GPIO_Init(GPIOC, &GPIO_InitStruct);

  /*Configure GPIO pin : A_Ln1Zrc_Pin */
  GPIO_InitStruct.Pin = A_Ln1Zrc_Pin;
  GPIO_InitStruct.Mode = GPIO_MODE_INPUT;
  GPIO_InitStruct.Pull = GPIO_PULLUP;
  HAL_GPIO_Init(A_Ln1Zrc_GPIO_Port, &GPIO_InitStruct);

  /*Configure GPIO pins : A_iNetRS_Pin A_MdBsRS_Pin */
  GPIO_InitStruct.Pin = A_iNetRS_Pin|A_MdBsRS_Pin;
  GPIO_InitStruct.Mode = GPIO_MODE_OUTPUT_PP;
  GPIO_InitStruct.Pull = GPIO_NOPULL;
  GPIO_InitStruct.Speed = GPIO_SPEED_FREQ_LOW;
  HAL_GPIO_Init(GPIOA, &GPIO_InitStruct);

  /*Configure GPIO pin : A_KbrdSS_Pin */
  GPIO_InitStruct.Pin = A_KbrdSS_Pin;
  GPIO_InitStruct.Mode = GPIO_MODE_OUTPUT_PP;
  GPIO_InitStruct.Pull = GPIO_NOPULL;
  GPIO_InitStruct.Speed = GPIO_SPEED_FREQ_HIGH;
  HAL_GPIO_Init(A_KbrdSS_GPIO_Port, &GPIO_InitStruct);

  /*Configure GPIO pins : B_ExpdRS_Pin HMD_SCL_Pin HMD_SDA_Pin RTC_SDL_Pin
                           RTC_SDA_Pin */
  GPIO_InitStruct.Pin = B_ExpdRS_Pin|HMD_SCL_Pin|HMD_SDA_Pin|RTC_SDL_Pin
                          |RTC_SDA_Pin;
  GPIO_InitStruct.Mode = GPIO_MODE_OUTPUT_PP;
  GPIO_InitStruct.Pull = GPIO_NOPULL;
  GPIO_InitStruct.Speed = GPIO_SPEED_FREQ_LOW;
  HAL_GPIO_Init(GPIOB, &GPIO_InitStruct);

  /*Configure GPIO pins : B_CrSwE2_Pin B_CrSwE1_Pin B_OExpA2_Pin B_OExpA1_Pin
                           B_OExpA0_Pin B_OExpE3_Pin B_OExpE2_Pin */
  GPIO_InitStruct.Pin = B_CrSwE2_Pin|B_CrSwE1_Pin|B_OExpA2_Pin|B_OExpA1_Pin
                          |B_OExpA0_Pin|B_OExpE3_Pin|B_OExpE2_Pin;
  GPIO_InitStruct.Mode = GPIO_MODE_OUTPUT_OD;
  GPIO_InitStruct.Pull = GPIO_NOPULL;
  GPIO_InitStruct.Speed = GPIO_SPEED_FREQ_LOW;
  HAL_GPIO_Init(GPIOB, &GPIO_InitStruct);

  /*Configure GPIO pins : C_CrSwE3_Pin C_OExpE4_Pin C_OExpDt_Pin */
  GPIO_InitStruct.Pin = C_CrSwE3_Pin|C_OExpE4_Pin|C_OExpDt_Pin;
  GPIO_InitStruct.Mode = GPIO_MODE_OUTPUT_OD;
  GPIO_InitStruct.Pull = GPIO_NOPULL;
  GPIO_InitStruct.Speed = GPIO_SPEED_FREQ_LOW;
  HAL_GPIO_Init(GPIOC, &GPIO_InitStruct);

  /*Configure GPIO pin : D_OExpE1_Pin */
  GPIO_InitStruct.Pin = D_OExpE1_Pin;
  GPIO_InitStruct.Mode = GPIO_MODE_OUTPUT_OD;
  GPIO_InitStruct.Pull = GPIO_NOPULL;
  GPIO_InitStruct.Speed = GPIO_SPEED_FREQ_LOW;
  HAL_GPIO_Init(D_OExpE1_GPIO_Port, &GPIO_InitStruct);

}

/* USER CODE BEGIN 4 */
/*All function define in main*/
void WALLCommunication(USARTHandler *uart){
  static uint16_t dsp_timeout = 0;

  /*Check time out */
  dsp_timeout++;
  if(dsp_timeout > (100/0.5)){
    DisableRXUART(USART1);
    FlushRXData(USART1);
    dsp_timeout = 0;
    __disable_interrupt();
    DisableTXEmptyInterrupt(USART1);
    DisableTXCptInterrupt(USART1);
    DisableRXEmptyInterrupt(USART1);
    __enable_interrupt();
    ConnectState = PREPARE_DATA;
  }
  switch(ConnectState){
  case PREPARE_DATA:
    TX1Data[0] = 0xA1;
    TX1Data[1] = DSP1_TAB[((KeyData >>4)& 0x0F)];
    TX1Data[2] = DSP1_TAB[(KeyData & 0x0F)];;
    TX1Data[3] = (uint8_t) (~(1<<4));
    TX1Data[4] = 0;
    TX1Data[5] = (TX1Data[0]+TX1Data[1]+TX1Data[2]+TX1Data[3]+TX1Data[4]) ^ 0xFF;

    /*Set pointer and counter*/
    /*-----------------------------------------------------*/
    /*Set Tx count*/
    uart->TXCount = 1;
    /* point to data first byte which send interupt*/
    uart->TXPointer = &TX1Data[1];
    /*Set Rx count*/
    uart->RXCount = 0;
    /*Set RX pointer*/
    uart->RXPointer = &RX1Data[0];
    /*Write 1st byte (header)*/
    USART1->TDR = TX1Data[0];
    /*Enable TX empty*/
    __disable_interrupt();
    EnableTXEmptyInterrupt(USART1);
    __enable_interrupt();
    /*-----------------------------------------------------*/

    ConnectState = WAIT_SEND_COMPLETE;
    break;

  case WAIT_SEND_COMPLETE:
  case CHANGE_TO_RX:
    break;

  case RECEIVED_DATA:
    if(((uart->RXCount) == RX1_SIZE) && (RX1Data[0] == 0xA9)){
      /*Received all bytes and header correct*/
      KeyData = RX1Data[2];
      __no_operation();
    }
    break;

  case WAIT_IDLE:
    break;
  }
}

void SPICommunication(SPI_TypeDef *SPICH,SPIDataHandler *spi){
  /*Example code for SPI*/
  static uint8_t spi_timer=0;

  if(++spi_timer == 20){
    spi_timer = 0;
    /*Resend data*/
    spi->SPIState = SPI_PREPARE;
  }

  switch(spi->SPIState){
  case SPI_PREPARE:
    /*Clear data before send*/
    for(uint8_t i=0;i<SPI_TX_SIZE;i++){
      SPITXData[i] =0;
    }
    SPITXData[0] = 0xA1;
    SPITXData[1] = 0x12;
    SPITXData[2] = 0x23;
    SPITXData[3] = Sec_Cntr;
    SPITXData[10] = 0xA9;
    /*Byte 18*/
    SPITXData[17] = LCD_1;
    /*byte 19*/
    SPITXData[18] = LCD_2;
    /*byte 20*/
    SPITXData[19] = LCD_3;
    /*byte 21*/
    SPITXData[20] = LCD_4;
    /*byte 22*/
    SPITXData[21] = LCD_5;
    /*byte 23*/
    SPITXData[22] = LCD_6;
    /*byte 24*/
    SPITXData[23] = LCD_7;
    /*byte 25*/
    SPITXData[24] = LCD_8;
    /*byte 26*/
    SPITXData[25] = LCD_9;

    /*Calculate check sum*/
    for(uint8_t i = 0;i< (SPI_TX_SIZE-1);i++){
      SPITXData[SPI_TX_SIZE-1] += SPITXData[i];
    }
    SPITXData[SPI_TX_SIZE-1] ^= 0xFF;

    /*Clear RX buffer*/
    for(uint8_t i = 0;i < SPI_RX_SIZE;i++){
      SPIRXData[i] = 0;
    }

    /*Set SPI TX & RX pointer*/
    spi->TXPointer = SPITXData;
    spi->RXPointer = SPIRXData;

    /*Set Max  counter to limit data*/
    spi->RXMaxByte = SPI_RX_SIZE;
    spi->TXMaxByte = SPI_TX_SIZE;
    /*Chip select*/
    CS_PORT->ODR &= ~(1<<CS_PIN);

    /*Set to wait state*/
    spi->SPIState = SPI_WAIT;
    break;

  case SPI_WAIT:

    /*Send SPI Data*/
    sendSPIDisplay(SPICH,spi);

    spi->SPIState = SPI_DATA_READY;
    break;

  case SPI_DATA_READY:
    break;
  }
}

/*Call Back funtion from other file*/
void InitUARTHandler(void){

  UART1.Instance =UART_CH2;
  UART1.Instance =UART_CH3;
  UART1.Instance =UART_CH4;

  /*Setting data handler for UART channel 1*/
  UART1.Instance =UART_CH1;                     /*Assign instance*/
  UART1.RXTimeOutReload = UART1_RX_TIME_OUT;    /*Set RX time out*/
  UART1.RXMaxByte =RX1_SIZE;                    /*Set RX size*/
  UART1.TXMaxByte =TX1_SIZE;                    /*Set TX size*/
}

void InitTimerCallBack(void){
  /*Initialze timer14 */
  /*first stop timer if running*/
  TIM14->CR1 &= ~TIM_CR1_CEN;
  /*enable update/overflow interrupt*/
  TIM14->DIER |= TIM_DIER_UIE;
  /*start timer*/
  TIM14->CR1 |= TIM_CR1_CEN;
  /*PWM out*/
  TIM3->CCER |= TIM_CCER_CC3E | TIM_CCER_CC4E;
  TIM3->CR1 |= TIM_CR1_CEN;
}

void UART_TXComplete_CallBack(USARTHandler *UARTDat){
  switch(UARTDat->Instance){
  case UART_CH1:
    /*Enable RX ,interrupt and flush data*/
    EnableRXUART(USART1);
    /*Flush RX FIFO*/
    FlushRXData(USART1);
    /*Enalbe RX empty interrupt*/
    EnableRXEmptyInterrupt(USART1);
    /*Restart rx timeout first byte*/
    UARTDat->RXTimeOut = 200;

    break;
  case UART_CH2:
    break;
  case UART_CH3:
    break;
  case UART_CH4:
    break;
  }
}

void UART_RXComplete_CallBack(USARTHandler *UARTDat){
  switch(UARTDat->Instance){
  case UART_CH1:
    DisableRXUART(USART1);
    DisableRXEmptyInterrupt(USART1);
    FlushRXData(USART1);
    ConnectState = RECEIVED_DATA;
    break;
  case UART_CH2:
    break;
  case UART_CH3:
    break;
  case UART_CH4:
    break;
  }
}

/*Call Back funtion from interrupt*/
void TIM14_interruptCallBack(void){
  /*This routine call from interrupt timer 14*/

  static uint8_t Intr_SlC = 0;
  /*Check update flag and clear if set to clear pending*/
  if((TIM14->SR & TIM_SR_UIF)== TIM_SR_UIF)     TIM14->SR &= ~TIM_SR_UIF;
  /*Increase 0.625 ms*/
  m0s0625C++;

  /*Increase interrupt slot*/
  if(++Intr_SlC >=5) Intr_SlC = 0;
  switch(Intr_SlC){

  default:
  case 0:
    break;

  case 1:
    break;

  case 2:
    break;

  case 3:
      break;

  case 4:
    break;
  }
}

/*routine for delay*/
void waitDelay(uint16_t count){
  while(count--);
}

/* USER CODE END 4 */

void Error_Handler(void)
{
}

/************************ (C) COPYRIGHT STMicroelectronics *****END OF FILE****/
